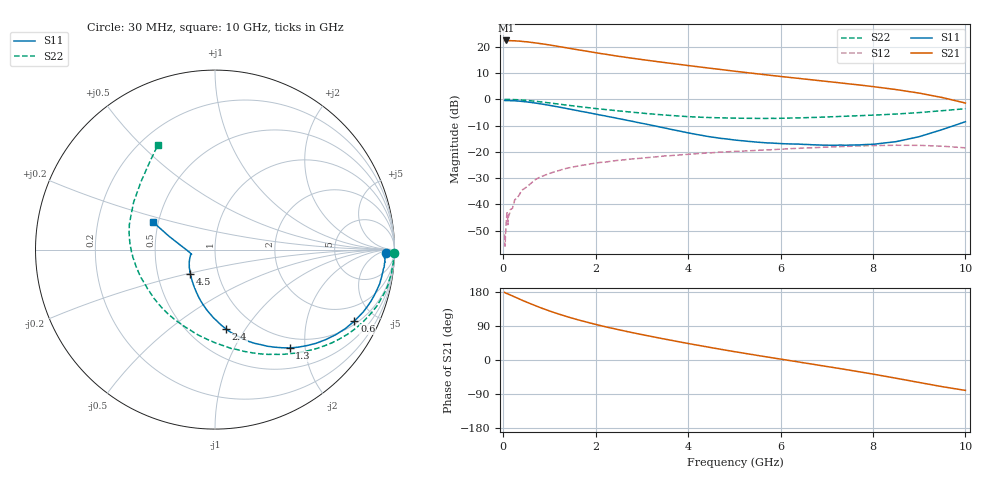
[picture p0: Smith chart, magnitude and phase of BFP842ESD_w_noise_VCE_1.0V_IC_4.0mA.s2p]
! Infineon Technologies  Discrete & RF Semiconductors
! BFP842ESD
! VCE =  1.0 V,  IC =  4.0 mA
! Common Emitter S-Parameters:  May 2012
# GHz  S  MA  R  50
!  f  S11  S21  S12  S22
! GHz  MAG  ANG  MAG  ANG  MAG  ANG  MAG  ANG
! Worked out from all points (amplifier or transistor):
!   99 points, 30 MHz to 10 GHz, reference 50 ohm
!   highest |S21| = 22.4 dB at 60 MHz (marker M1)
!   |S21| within 3 dB of that: start of sweep to 1.435 GHz
!   unconditionally stable (mu >= 1): 3.503 GHz to end of sweep
!   at 350 MHz: K = 0.19, MSG = 29.2 dB, |S12| = -36.3 dB
!   at 3.5 GHz: K = 1.00, MSG = 17.8 dB, |S12| = -21.5 dB
!   at 10 GHz: K = 2.30, MAG = 2.1 dB, |S12| = -18.5 dB
!   lowest NFmin = 0.36 dB at 450 MHz
!   S11 on the Smith chart (normalised r, x): 30 MHz: 34, -14; 600 MHz: 1.14, -3.83; 1.3 GHz: 0.82, -1.71; 2.4 GHz: 0.74, -0.82; 4.5 GHz: 0.73, -0.21; 10 GHz: 0.47, +0.17
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0.03  0.951 -1.2  13.09 178.4  0.0027 74.7  0.9987 -1.0
0.04  0.951 -1.9  13.07 177.6  0.0016 79.9  0.9977 -1.3
0.06  0.9455 -2.9  13.22 176.4  0.0038 -28.1  0.998 -2.3
0.08  0.9478 -3.9  13.12 175.3  0.0069 76.2  0.9967 -3.0
0.1  0.9468 -4.6  13.07 174.6  0.0041 54.6  0.9945 -3.8
0.25  0.9369 -11.8  13.04 166.3  0.0123 80.5  0.9864 -9.8
0.35  0.9228 -16.2  12.84 160.9  0.0153 74.7  0.9779 -13.6
0.6  0.873 -27.1  12.17 148.0  0.0251 71.8  0.9368 -22.6
0.9  0.7957 -39.0  11.2 133.9  0.0359 61.7  0.8761 -32.6
1.1  0.7417 -46.1  10.51 125.3  0.0415 56.6  0.833 -38.6
1.3  0.6881 -52.8  9.8 117.5  0.047 52.6  0.7912 -44.1
1.7  0.5868 -64.4  8.544 103.4  0.0553 45.3  0.716 -54.0
2.1  0.502 -74.8  7.478 90.9  0.063 39.4  0.654 -63.2
2.4  0.4475 -81.9  6.797 82.6  0.0676 35.7  0.6148 -69.6
2.9  0.3643 -93.5  5.879 69.5  0.0746 30.6  0.5581 -80.7
3.4  0.2962 -105.6  5.142 57.5  0.0818 25.0  0.5098 -92.3
3.9  0.24 -118.5  4.521 45.9  0.0887 20.1  0.4749 -104.8
4.5  0.1919 -135.5  3.889 32.6  0.0961 13.7  0.4497 -120.0
5.1  0.1648 -150.7  3.359 20.2  0.1027 7.4  0.4372 -134.5
6.7  0.1361 -168.3  2.343 -11.2  0.12 -10.2  0.4518 -169.8
8.5  0.1565 -178.8  1.535 -48.1  0.1336 -36.2  0.5249 149.7
10  0.3746 156.2  0.85 -80.2  0.1193 -64.2  0.6628 118.8
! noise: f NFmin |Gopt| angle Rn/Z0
0.45  0.36  0.47  2  0.13
0.9  0.39  0.49  8  0.13
1.5  0.43  0.47  21  0.12
1.9  0.44  0.44  30  0.12
2.4  0.48  0.41  44  0.11
3.5  0.62  0.3  80  0.09
4  0.68  0.25  99  0.09
5  0.74  0.23  117  0.08
5.5  0.89  0.22  140  0.08
6  1.04  0.21  152  0.08
